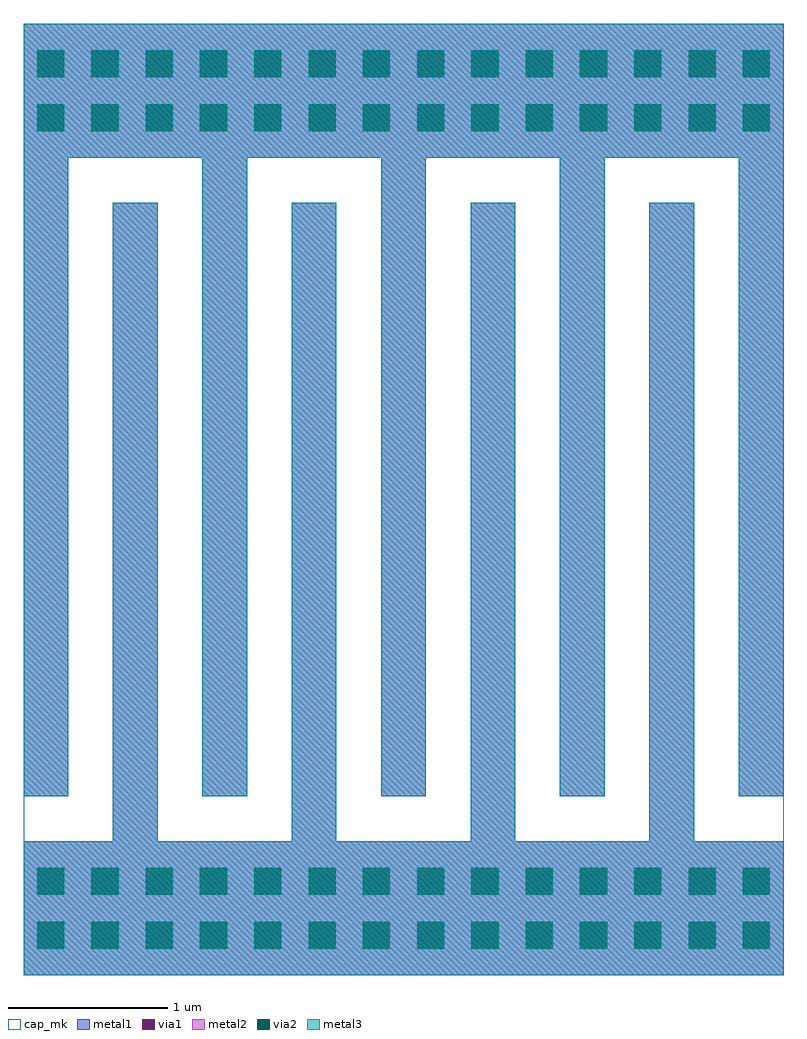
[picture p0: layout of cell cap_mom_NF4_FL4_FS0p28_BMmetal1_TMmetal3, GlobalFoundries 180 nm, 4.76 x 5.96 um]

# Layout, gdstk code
import gdstk
lib = gdstk.Library(unit=1e-6, precision=1e-09)
def R(c, l, rs):  # rectangles x0, y0, x1, y1
    for r in rs: c.add(gdstk.rectangle(r[:2], r[2:], *l))
metal1 = (34, 0)
via1 = (35, 0)
metal2 = (36, 0)
via2 = (38, 0)
metal3 = (42, 0)
cap_mk = (117, 5)

rectangle_gdsfactorypcom = lib.new_cell('rectangle_gdsfactorypcomponentspshapesprectangle_S0p28__d6bd3408')
R(rectangle_gdsfactorypcom, metal1, [(0,0,0.28,4)])

c_rectangle_gdsfactorypcom = lib.new_cell('rectangle_gdsfactorypcomponentspshapesprectangle_S4p760_11f06303')
R(c_rectangle_gdsfactorypcom, metal1, [(0,0,4.76,0.84)])

c_rectangle_gdsfactorypcom_ = lib.new_cell('rectangle_gdsfactorypcomponentspshapesprectangle_S0p28__a289e5a3')
R(c_rectangle_gdsfactorypcom_, metal2, [(0,0,0.28,4)])

c_rectangle_gdsfactorypcom__ = lib.new_cell('rectangle_gdsfactorypcomponentspshapesprectangle_S4p760_feaa67eb')
R(c_rectangle_gdsfactorypcom__, metal2, [(0,0,4.76,0.84)])

c_rectangle_gdsfactorypcom___ = lib.new_cell('rectangle_gdsfactorypcomponentspshapesprectangle_S0p28__3653fe52')
R(c_rectangle_gdsfactorypcom___, metal3, [(0,0,0.28,4)])

c_rectangle_gdsfactorypcom____ = lib.new_cell('rectangle_gdsfactorypcomponentspshapesprectangle_S4p760_5411bde2')
R(c_rectangle_gdsfactorypcom____, metal3, [(0,0,4.76,0.84)])

c_rectangle_gdsfactorypcom_____ = lib.new_cell('rectangle_gdsfactorypcomponentspshapesprectangle_S0p17__8e7d9788')
R(c_rectangle_gdsfactorypcom_____, via1, [(0,0,0.17,0.17)])

via_generator_xr0_4p76_y = lib.new_cell('via_generator_XR0_4p76_YR4p28_5p12_VS0p17_0p17_VLvia1_V_cfe0a673')
r = gdstk.Reference(c_rectangle_gdsfactorypcom_____, (0.085,4.445)); r.repetition = gdstk.Repetition(14, 2, v1=(0.34,0), v2=(0,0.34)); via_generator_xr0_4p76_y.add(r)

c_via_generator_xr0_4p76_y = lib.new_cell('via_generator_XR0_4p76_YRm0p84_0_VS0p17_0p17_VLvia1_VE0_d80d6755')
r = gdstk.Reference(c_rectangle_gdsfactorypcom_____, (0.085,-0.675)); r.repetition = gdstk.Repetition(14, 2, v1=(0.34,0), v2=(0,0.34)); c_via_generator_xr0_4p76_y.add(r)

c_rectangle_gdsfactorypcom______ = lib.new_cell('rectangle_gdsfactorypcomponentspshapesprectangle_S0p17__c8fc52ff')
R(c_rectangle_gdsfactorypcom______, via2, [(0,0,0.17,0.17)])

c_via_generator_xr0_4p76_y_ = lib.new_cell('via_generator_XR0_4p76_YR4p28_5p12_VS0p17_0p17_VLvia2_V_cceebf90')
r = gdstk.Reference(c_rectangle_gdsfactorypcom______, (0.085,4.445)); r.repetition = gdstk.Repetition(14, 2, v1=(0.34,0), v2=(0,0.34)); c_via_generator_xr0_4p76_y_.add(r)

c_via_generator_xr0_4p76_y__ = lib.new_cell('via_generator_XR0_4p76_YRm0p84_0_VS0p17_0p17_VLvia2_VE0_1703b938')
r = gdstk.Reference(c_rectangle_gdsfactorypcom______, (0.085,-0.675)); r.repetition = gdstk.Repetition(14, 2, v1=(0.34,0), v2=(0,0.34)); c_via_generator_xr0_4p76_y__.add(r)

bbox_gdsfactorypcomponen = lib.new_cell('bbox_gdsfactorypcomponentspshapespbbox_CUnnamed_284_Lca_4117d853')
R(bbox_gdsfactorypcomponen, cap_mk, [(0,-0.84,4.76,5.12)])

cap_mom_nf4_fl4_fs0p28_b = lib.new_cell('cap_mom_NF4_FL4_FS0p28_BMmetal1_TMmetal3')
r = gdstk.Reference(rectangle_gdsfactorypcom, (0,0.28)); r.repetition = gdstk.Repetition(5, 1, v1=(1.12,0), v2=(0,0)); cap_mom_nf4_fl4_fs0p28_b.add(r)
r = gdstk.Reference(rectangle_gdsfactorypcom, (0.56,0)); r.repetition = gdstk.Repetition(4, 1, v1=(1.12,0), v2=(0,0)); cap_mom_nf4_fl4_fs0p28_b.add(r)
cap_mom_nf4_fl4_fs0p28_b.add(gdstk.Reference(c_rectangle_gdsfactorypcom, (0,4.28)))
cap_mom_nf4_fl4_fs0p28_b.add(gdstk.Reference(c_rectangle_gdsfactorypcom, (0,-0.84)))
r = gdstk.Reference(c_rectangle_gdsfactorypcom_, (0,0.28)); r.repetition = gdstk.Repetition(5, 1, v1=(1.12,0), v2=(0,0)); cap_mom_nf4_fl4_fs0p28_b.add(r)
r = gdstk.Reference(c_rectangle_gdsfactorypcom_, (0.56,0)); r.repetition = gdstk.Repetition(4, 1, v1=(1.12,0), v2=(0,0)); cap_mom_nf4_fl4_fs0p28_b.add(r)
cap_mom_nf4_fl4_fs0p28_b.add(gdstk.Reference(c_rectangle_gdsfactorypcom__, (0,4.28)))
cap_mom_nf4_fl4_fs0p28_b.add(gdstk.Reference(c_rectangle_gdsfactorypcom__, (0,-0.84)))
r = gdstk.Reference(c_rectangle_gdsfactorypcom___, (0,0.28)); r.repetition = gdstk.Repetition(5, 1, v1=(1.12,0), v2=(0,0)); cap_mom_nf4_fl4_fs0p28_b.add(r)
r = gdstk.Reference(c_rectangle_gdsfactorypcom___, (0.56,0)); r.repetition = gdstk.Repetition(4, 1, v1=(1.12,0), v2=(0,0)); cap_mom_nf4_fl4_fs0p28_b.add(r)
cap_mom_nf4_fl4_fs0p28_b.add(gdstk.Reference(c_rectangle_gdsfactorypcom____, (0,4.28)))
cap_mom_nf4_fl4_fs0p28_b.add(gdstk.Reference(c_rectangle_gdsfactorypcom____, (0,-0.84)))
cap_mom_nf4_fl4_fs0p28_b.add(gdstk.Reference(via_generator_xr0_4p76_y, (0,0)))
cap_mom_nf4_fl4_fs0p28_b.add(gdstk.Reference(c_via_generator_xr0_4p76_y, (0,0)))
cap_mom_nf4_fl4_fs0p28_b.add(gdstk.Reference(c_via_generator_xr0_4p76_y_, (0,0)))
cap_mom_nf4_fl4_fs0p28_b.add(gdstk.Reference(c_via_generator_xr0_4p76_y__, (0,0)))
cap_mom_nf4_fl4_fs0p28_b.add(gdstk.Reference(bbox_gdsfactorypcomponen, (0,0)))

lib.write_gds('cap_mom_NF4_FL4_FS0p28_BMmetal1_TMmetal3.gds')
